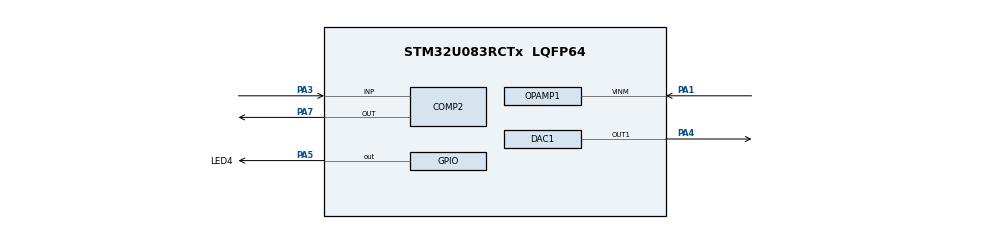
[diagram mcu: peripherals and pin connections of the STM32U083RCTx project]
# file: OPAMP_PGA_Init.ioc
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Mcu.Family=STM32U0
Mcu.Name=STM32U083RCTx
Mcu.Package=LQFP64
NVIC.PriorityGroup=NVIC_PRIORITYGROUP_2
OPAMP1.PgaGain=OPAMP_PGA_GAIN_2
PA1.Mode=PGA Connected-DAC_OUT1-INP
PA1.Signal=OPAMP1_VINM
PA3.Signal=SharedAnalog_PA3
PA4.Signal=COMP_DAC11_group
PA5.GPIO_Label=LED4
PA5.Signal=GPIO_Output
PA7.Mode=ExternalOutput
PA7.Signal=COMP2_OUT
ProjectManager.HeapSize=0x200
ProjectManager.StackSize=0x400
ProjectManager.TargetToolchain=EWARM V9.20
RCC.ADCFreq_Value=48000000
RCC.AHBFreq_Value=48000000
RCC.CortexFreq_Value=48000000
RCC.HCLKFreq_Value=48000000
RCC.HSE_VALUE=4000000
RCC.HSI48_VALUE=48000000
RCC.HSI_VALUE=16000000
RCC.LSE_VALUE=32768
RCC.MSIClockRangeVal=RCC_MSIRANGE_11
RCC.MSI_VALUE=48000000
RCC.PLLM=RCC_PLLM_DIV8
RCC.PLLN=8
RCC.PLLSourceVirtual=RCC_PLLSOURCE_MSI
RCC.SYSCLKFreq_VALUE=48000000
RCC.SYSCLKSource=RCC_SYSCLKSOURCE_MSI
RCC.USBFreq_Value=48000000
RCC.VCOOutputFreq_Value=48000000
SH.COMP_DAC11_group.0=DAC1_OUT1,DAC_OUT1_ExtAndInt
SH.SharedAnalog_PA3.0=COMP2_INP,INP
SH.SharedAnalog_PA3.1=OPAMP1_VOUT,PGA Connected-DAC_OUT1-INP
VP_COMP2_VS_VREFINT.Mode=VREFINT
VP_PWR_VS_SECSignals.Mode=Security/Privilege
board=custom

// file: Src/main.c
/* USER CODE BEGIN Header */
/**
  ******************************************************************************
  * @file    Examples_LL/OPAMP/OPAMP_PGA_Init/Src/main.c
  * @author  MCD Application Team
  * @brief   This example describes how to use OPAMP in PGA mode.
  *          This example is based on the STM32U0xx OPAMP LL API;
  *          Peripheral initialization done using LL unitary services functions.
  ******************************************************************************
  * @attention
  *
  * Copyright (c) 2023 STMicroelectronics.
  * All rights reserved.
  *
  * This software is licensed under terms that can be found in the LICENSE file
  * in the root directory of this software component.
  * If no LICENSE file comes with this software, it is provided AS-IS.
  *
  ******************************************************************************
  */
/* USER CODE END Header */
#include "main.h"

/* USER CODE BEGIN PD */
/* Definitions of environment analog values */
  /* Value of analog reference voltage (Vref+), connected to analog voltage   */
  /* supply Vdda (unit: mV).                                                  */
  #define VDDA_APPLI                       ((uint32_t)3300)

/* Definitions of data related to this example */
  /* Full-scale digital value with a resolution of 12 bits (voltage range     */
  /* determined by analog voltage references Vref+ and Vref-,                 */
  /* refer to reference manual).                                              */
  #define DIGITAL_SCALE_12BITS             (__LL_DAC_DIGITAL_SCALE(LL_DAC_RESOLUTION_12B))

/* USER CODE END PD */

/* USER CODE BEGIN PV */
__IO uint8_t ubButtonPress = 0;
__IO uint8_t ubButtonPressCount = 0;

/* USER CODE END PV */

void SystemClock_Config(void);
static void MX_GPIO_Init(void);
static void MX_DAC1_Init(void);
static void MX_COMP2_Init(void);
static void MX_OPAMP1_Init(void);
/* USER CODE BEGIN PFP */
void     Activate_COMP(void);
void     Activate_DAC(void);
void     Activate_OPAMP(void);
void     LED_On(void);
void     LED_Off(void);
/* USER CODE END PFP */

int main(void)
{

  /* MCU Configuration--------------------------------------------------------*/

  /* Reset of all peripherals, Initializes the Flash interface and the Systick. */
  LL_APB1_GRP1_EnableClock(LL_APB1_GRP1_PERIPH_PWR);
  LL_APB1_GRP2_EnableClock(LL_APB1_GRP2_PERIPH_SYSCFG);

  /* System interrupt init*/
  NVIC_SetPriorityGrouping(NVIC_PRIORITYGROUP_2);

  /* Configure the system clock */
  SystemClock_Config();

  /* Initialize all configured peripherals */
  MX_GPIO_Init();
  MX_DAC1_Init();
  MX_COMP2_Init();
  MX_OPAMP1_Init();
  /* USER CODE BEGIN 2 */

  /* Turn-off LED4 */
  LED_Off();

  /* Activate DAC channel */
  Activate_DAC();

  /* Activate OPAMP */
  Activate_OPAMP();

  /* Activate comparator */
  Activate_COMP();

  if(LL_COMP_ReadOutputLevel(COMP2) == LL_COMP_OUTPUT_LEVEL_HIGH)
  {
    /* Turn-on LED4 */
    LED_On();
  }

  /* USER CODE END 2 */

  /* Infinite loop */
  /* USER CODE BEGIN WHILE */
  while (1)
  {
    /* Note: LED state depending and DAC channel output are set into          */
    /*       function "UserButton_Callback()".                                */
    /* USER CODE END WHILE */

  }
}

void SystemClock_Config(void)
{
  LL_FLASH_SetLatency(LL_FLASH_LATENCY_1);
  while(LL_FLASH_GetLatency() != LL_FLASH_LATENCY_1)
  {
  }

  LL_PWR_SetRegulVoltageScaling(LL_PWR_REGU_VOLTAGE_SCALE1);
  while (LL_PWR_IsActiveFlag_VOS() != 0)
  {
  }
  LL_RCC_MSI_Enable();

   /* Wait till MSI is ready */
  while(LL_RCC_MSI_IsReady() != 1)
  {
  }

  LL_RCC_MSI_EnableRangeSelection();
  LL_RCC_MSI_SetRange(LL_RCC_MSIRANGE_11);
  LL_RCC_SetSysClkSource(LL_RCC_SYS_CLKSOURCE_MSI);

   /* Wait till System clock is ready */
  while(LL_RCC_GetSysClkSource() != LL_RCC_SYS_CLKSOURCE_STATUS_MSI)
  {
  }

  LL_RCC_SetAHBPrescaler(LL_RCC_SYSCLK_DIV_1);
  LL_RCC_SetAPB1Prescaler(LL_RCC_APB1_DIV_1);

  LL_Init1msTick(48000000);

  LL_SetSystemCoreClock(48000000);
}

static void MX_COMP2_Init(void)
{

  LL_COMP_InitTypeDef COMP_InitStruct = {0};

  LL_GPIO_InitTypeDef GPIO_InitStruct = {0};

  /* Peripheral clock enable */
  LL_APB1_GRP2_EnableClock(LL_APB1_GRP2_PERIPH_COMP);

  LL_IOP_GRP1_EnableClock(LL_IOP_GRP1_PERIPH_GPIOA);
  /**COMP2 GPIO Configuration
  PA3   ------> COMP2_INP
  PA7   ------> COMP2_OUT
  */
  GPIO_InitStruct.Pin = LL_GPIO_PIN_3;
  GPIO_InitStruct.Mode = LL_GPIO_MODE_ANALOG;
  GPIO_InitStruct.Pull = LL_GPIO_PULL_NO;
  LL_GPIO_Init(GPIOA, &GPIO_InitStruct);

  GPIO_InitStruct.Pin = LL_GPIO_PIN_7;
  GPIO_InitStruct.Mode = LL_GPIO_MODE_ALTERNATE;
  GPIO_InitStruct.Speed = LL_GPIO_SPEED_FREQ_LOW;
  GPIO_InitStruct.OutputType = LL_GPIO_OUTPUT_PUSHPULL;
  GPIO_InitStruct.Pull = LL_GPIO_PULL_NO;
  GPIO_InitStruct.Alternate = LL_GPIO_AF_12;
  LL_GPIO_Init(GPIOA, &GPIO_InitStruct);

  COMP_InitStruct.InputPlus = LL_COMP_INPUT_PLUS_IO3;
  COMP_InitStruct.InputMinus = LL_COMP_INPUT_MINUS_VREFINT;
  COMP_InitStruct.InputHysteresis = LL_COMP_HYSTERESIS_NONE;
  COMP_InitStruct.OutputPolarity = LL_COMP_OUTPUTPOL_NONINVERTED;
  COMP_InitStruct.OutputBlankingSource = LL_COMP_BLANKINGSRC_NONE;
  LL_COMP_Init(COMP2, &COMP_InitStruct);
  LL_COMP_SetPowerMode(COMP2, LL_COMP_POWERMODE_HIGHSPEED);

  /* Wait loop initialization and execution */
  /* Note: Variable divided by 2 to compensate partially CPU processing cycles */
  __IO uint32_t wait_loop_index = 0;
  wait_loop_index = (LL_COMP_DELAY_VOLTAGE_SCALER_STAB_US * (SystemCoreClock / (1000000 * 2)));
  while(wait_loop_index != 0)
  {
    wait_loop_index--;
  }
  LL_COMP_SetCommonWindowMode(__LL_COMP_COMMON_INSTANCE(COMP2), LL_COMP_WINDOWMODE_DISABLE);
  LL_COMP_SetCommonWindowOutput(__LL_COMP_COMMON_INSTANCE(COMP2), LL_COMP_WINDOWOUTPUT_EACH_COMP);
  LL_EXTI_DisableEvent_0_31(LL_EXTI_LINE_18);
  LL_EXTI_DisableIT_0_31(LL_EXTI_LINE_18);

}

static void MX_DAC1_Init(void)
{

  LL_DAC_InitTypeDef DAC_InitStruct = {0};

  LL_GPIO_InitTypeDef GPIO_InitStruct = {0};

  /* Peripheral clock enable */
  LL_APB1_GRP1_EnableClock(LL_APB1_GRP1_PERIPH_DAC1);

  LL_IOP_GRP1_EnableClock(LL_IOP_GRP1_PERIPH_GPIOA);
  /**DAC1 GPIO Configuration
  PA4   ------> DAC1_OUT1
  */
  GPIO_InitStruct.Pin = LL_GPIO_PIN_4;
  GPIO_InitStruct.Mode = LL_GPIO_MODE_ANALOG;
  GPIO_InitStruct.Pull = LL_GPIO_PULL_NO;
  LL_GPIO_Init(GPIOA, &GPIO_InitStruct);

  /** DAC channel OUT1 config
  */
  DAC_InitStruct.TriggerSource = LL_DAC_TRIG_SOFTWARE;
  DAC_InitStruct.WaveAutoGeneration = LL_DAC_WAVE_AUTO_GENERATION_NONE;
  DAC_InitStruct.OutputConnection = LL_DAC_OUTPUT_CONNECT_INTERNAL;
  DAC_InitStruct.OutputMode = LL_DAC_OUTPUT_MODE_NORMAL;
  LL_DAC_Init(DAC1, LL_DAC_CHANNEL_1, &DAC_InitStruct);
  LL_DAC_DisableTrigger(DAC1, LL_DAC_CHANNEL_1);

}

static void MX_OPAMP1_Init(void)
{

  LL_OPAMP_InitTypeDef OPAMP_InitStruct = {0};

  LL_GPIO_InitTypeDef GPIO_InitStruct = {0};

  /* Peripheral clock enable */
  LL_APB1_GRP1_EnableClock(LL_APB1_GRP1_PERIPH_OPAMP);

  LL_IOP_GRP1_EnableClock(LL_IOP_GRP1_PERIPH_GPIOA);
  /**OPAMP1 GPIO Configuration
  PA1   ------> OPAMP1_VINM
  PA3   ------> OPAMP1_VOUT
  */
  GPIO_InitStruct.Pin = LL_GPIO_PIN_1|LL_GPIO_PIN_3;
  GPIO_InitStruct.Mode = LL_GPIO_MODE_ANALOG;
  GPIO_InitStruct.Pull = LL_GPIO_PULL_NO;
  LL_GPIO_Init(GPIOA, &GPIO_InitStruct);

  OPAMP_InitStruct.PowerMode = LL_OPAMP_POWERMODE_NORMALPOWER_NORMALSPEED;
  OPAMP_InitStruct.FunctionalMode = LL_OPAMP_MODE_PGA;
  OPAMP_InitStruct.InputNonInverting = LL_OPAMP_INPUT_NONINV_DAC1_CH1;
  OPAMP_InitStruct.InputInverting = LL_OPAMP_INPUT_INVERT_IO0;
  LL_OPAMP_Init(OPAMP1, &OPAMP_InitStruct);
  LL_OPAMP_SetCommonPowerRange(__LL_OPAMP_COMMON_INSTANCE(OPAMP1), LL_OPAMP_POWERSUPPLY_RANGE_LOW);
  LL_OPAMP_SetPGAGain(OPAMP1, LL_OPAMP_PGA_GAIN_2);
  LL_OPAMP_SetTrimmingMode(OPAMP1, LL_OPAMP_TRIMMING_FACTORY);

}

static void MX_GPIO_Init(void)
{
  LL_GPIO_InitTypeDef GPIO_InitStruct = {0};

  /* GPIO Ports Clock Enable */
  LL_IOP_GRP1_EnableClock(LL_IOP_GRP1_PERIPH_GPIOA);

  /**/
  LL_GPIO_ResetOutputPin(LED4_GPIO_Port, LED4_Pin);

  /**/
  GPIO_InitStruct.Pin = LED4_Pin;
  GPIO_InitStruct.Mode = LL_GPIO_MODE_OUTPUT;
  GPIO_InitStruct.Speed = LL_GPIO_SPEED_FREQ_LOW;
  GPIO_InitStruct.OutputType = LL_GPIO_OUTPUT_PUSHPULL;
  GPIO_InitStruct.Pull = LL_GPIO_PULL_NO;
  LL_GPIO_Init(LED4_GPIO_Port, &GPIO_InitStruct);

}

/* USER CODE BEGIN 4 */

/**
  * @brief  Perform DAC activation procedure to make it ready to generate
  *         a voltage (DAC instance: DAC1).
  * @note   Operations:
  *         - Enable DAC instance channel
  *         - Wait for DAC instance channel startup time
  * @param  None
  * @retval None
  */
void Activate_DAC(void)
{
  __IO uint32_t wait_loop_index = 0;

  /* Enable DAC channel */
  LL_DAC_Enable(DAC1, LL_DAC_CHANNEL_1);

  /* Delay for DAC channel voltage settling time from DAC channel startup.    */
  /* Compute number of CPU cycles to wait for, from delay in us.              */
  /* Note: Variable divided by 2 to compensate partially                      */
  /*       CPU processing cycles (depends on compilation optimization).       */
  /* Note: If system core clock frequency is below 200kHz, wait time          */
  /*       is only a few CPU processing cycles.                               */
  wait_loop_index = ((LL_DAC_DELAY_STARTUP_VOLTAGE_SETTLING_US * (SystemCoreClock / (100000 * 2))) / 10);
  while(wait_loop_index != 0)
  {
    wait_loop_index--;
  }

  /* Enable DAC channel trigger */
  /* Note: DAC channel conversion can start from trigger enable:              */
  /*       - if DAC channel trigger source is set to SW:                      */
  /*         DAC channel conversion will start after trig order               */
  /*         using function "LL_DAC_TrigSWConversion()".                      */
  /*       - if DAC channel trigger source is set to external trigger         */
  /*         (timer, ...):                                                    */
  /*         DAC channel conversion can start immediately                     */
  /*         (after next trig order from external trigger)                    */
  LL_DAC_EnableTrigger(DAC1, LL_DAC_CHANNEL_1);

  /* Set data to be loaded in data holding register */
  LL_DAC_ConvertData12RightAligned(DAC1, LL_DAC_CHANNEL_1, __LL_DAC_CALC_VOLTAGE_TO_DATA(VDDA_APPLI, (VDDA_APPLI/4), LL_DAC_RESOLUTION_12B));

  /* Trig DAC conversion by software */
  LL_DAC_TrigSWConversion(DAC1, LL_DAC_CHANNEL_1);
}

/**
  * @brief  Perform comparator activation procedure
  *         (COMP instance: COMP2).
  * @param  None
  * @retval None
  */
void Activate_COMP(void)
{
  __IO uint32_t wait_loop_index = 0;

  /* Enable comparator */
  LL_COMP_Enable(COMP2);

  /* Delay for comparator startup time.                                       */
  /* Compute number of CPU cycles to wait for, from delay in us.              */
  /* Note: Variable divided by 2 to compensate partially                      */
  /*       CPU processing cycles (depends on compilation optimization).       */
  /* Note: If system clock frequency is below 200kHz, wait time will          */
  /*       correspond to the few CPU processing cycles to process this        */
  /*       calculation.                                                       */
  wait_loop_index = ((LL_COMP_DELAY_STARTUP_US * (SystemCoreClock / (100000 * 2))) / 10);
  while(wait_loop_index != 0)
  {
    wait_loop_index--;
  }
}

/**
  * @brief  Perform OPAMP activation procedure
  *         (OPAMP instance: OPAMP1).
  * @note   Operations:
  *         - Enable OPAMP instance
  *         - Wait for OPAMP startup time
  * @param  None
  * @retval None
  */
void Activate_OPAMP(void)
{
  __IO uint32_t wait_loop_index = 0;

  /* Enable OPAMP */
  LL_OPAMP_Enable(OPAMP1);

  /* Delay for OPAMP startup time.                                            */
  /* Compute number of CPU cycles to wait for, from delay in us.              */
  /* Note: Variable divided by 2 to compensate partially                      */
  /*       CPU processing cycles (depends on compilation optimization).       */
  /* Note: If system core clock frequency is below 200kHz, wait time          */
  /*       is only a few CPU processing cycles.                               */
  wait_loop_index = ((LL_OPAMP_DELAY_STARTUP_US * (SystemCoreClock / (100000 * 2))) / 10);
  while(wait_loop_index != 0)
  {
    wait_loop_index--;
  }

}
/**
  * @brief  Turn-on LED4.
  * @param  None
  * @retval None
  */
void LED_On(void)
{
  /* Turn LED4 on */
  LL_GPIO_SetOutputPin(LED4_GPIO_Port, LED4_Pin);
}

/**
  * @brief  Turn-off LED4.
  * @param  None
  * @retval None
  */
void LED_Off(void)
{
  /* Turn LED4 off */
  LL_GPIO_ResetOutputPin(LED4_GPIO_Port, LED4_Pin);
}

/* USER CODE END 4 */

void Error_Handler(void)
{
}
